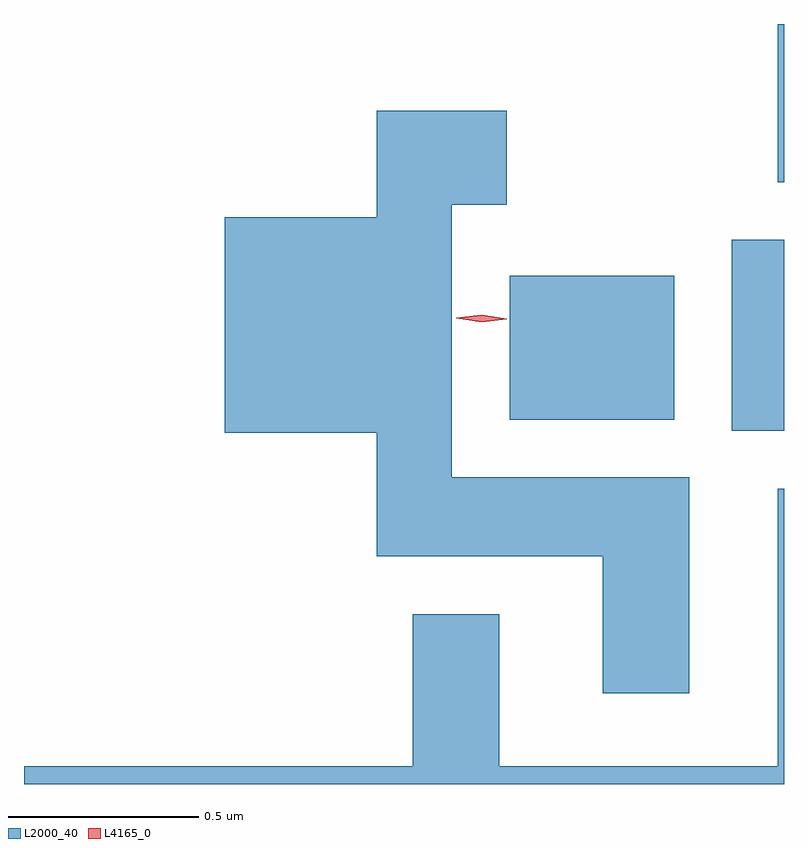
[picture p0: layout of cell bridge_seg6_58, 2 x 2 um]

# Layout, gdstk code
import gdstk
lib = gdstk.Library(unit=1e-6, precision=1e-09)
def R(c, l, rs):  # rectangles x0, y0, x1, y1
    for r in rs: c.add(gdstk.rectangle(r[:2], r[2:], *l))
def P(c, l, *ps):  # polygons
    for p in ps: c.add(gdstk.Polygon(p, *l))
L2000_40 = (2000, 40)
L4165_0 = (4165, 0)

bridge_seg6_58 = lib.new_cell('bridge_seg6_58')
R(bridge_seg6_58, L2000_40, [(1623.711,1591.146,1623.848,1591.649), (1623.126,1591.176,1623.559,1591.554)])
P(bridge_seg6_58, L2000_40, [(1623.848,1592.217),(1621.848,1592.217),(1621.848,1592.216),(1623.831,1592.216),(1623.831,1591.801),(1623.848,1591.801)],
  [(1623.599,1591.024),(1622.974,1591.024),(1622.974,1591.741),(1623.119,1591.741),(1623.119,1591.989),(1622.776,1591.989),(1622.776,1591.709),(1622.376,1591.709),(1622.376,1591.141),(1622.776,1591.141),(1622.776,1590.816),(1623.371,1590.816),(1623.371,1590.456),(1623.599,1590.456)],
  [(1623.848,1590.994),(1623.831,1590.994),(1623.831,1590.264),(1623.099,1590.264),(1623.099,1590.664),(1622.871,1590.664),(1622.871,1590.264),(1621.848,1590.264),(1621.848,1590.217),(1623.848,1590.217)])
P(bridge_seg6_58, L4165_0, [(1623.052,1591.432),(1622.986,1591.443),(1622.986,1591.443),(1622.986,1591.444),(1623.053,1591.452),(1623.119,1591.442),(1623.119,1591.441),(1623.119,1591.44)])

lib.write_gds('bridge_seg6_58.gds')
